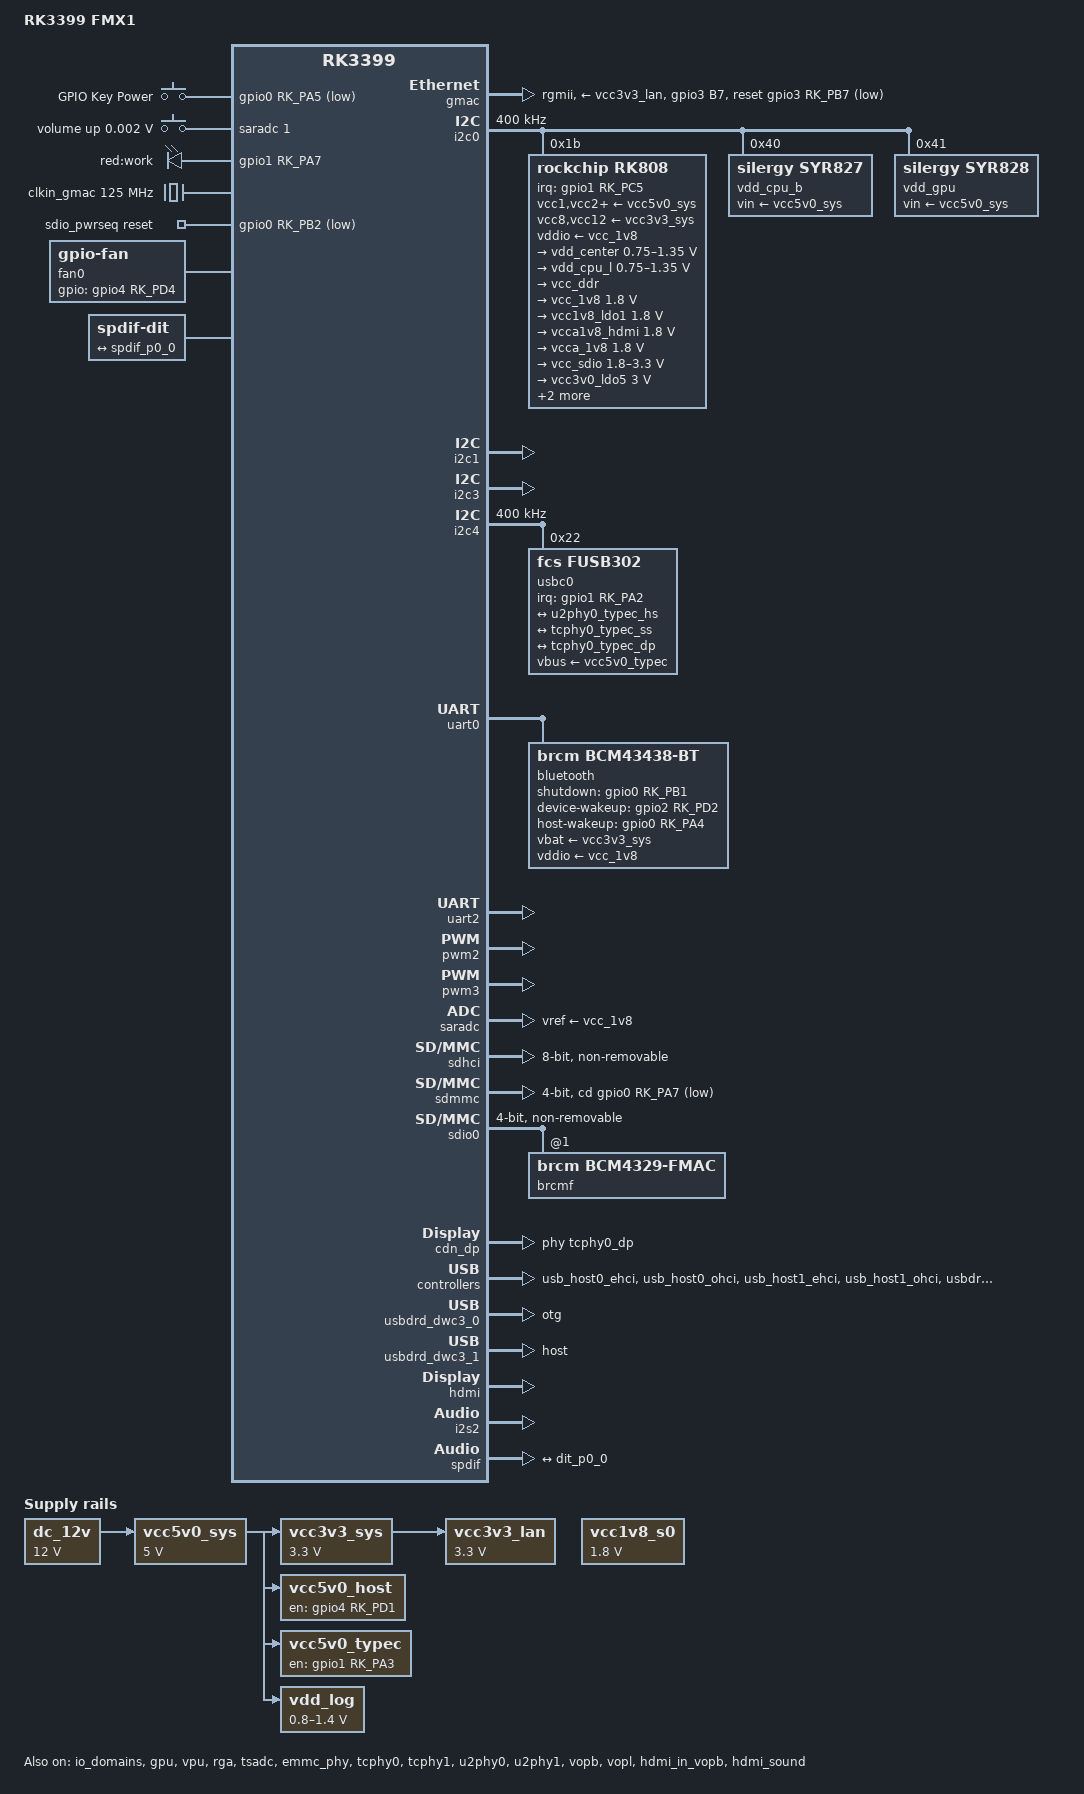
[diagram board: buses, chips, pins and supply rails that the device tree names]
// SPDX-License-Identifier: (GPL-2.0+ OR MIT)
/*
 * Copyright (C) 2025 kaixinos <kaixinos@outlook.com>
 */

/dts-v1/;
#include <dt-bindings/input/linux-event-codes.h>
#include <dt-bindings/leds/common.h>
#include <dt-bindings/pwm/pwm.h>
#include <dt-bindings/usb/pd.h>
#include "rk3399.dtsi"

/ {
	model = "RK3399 FMX1";
	compatible = "rk3399,fmx1", "rockchip,rk3399";

	aliases {
		ethernet0 = &gmac;
		mmc0 = &sdio0;
		mmc1 = &sdmmc;
		mmc2 = &sdhci;
	};

	chosen {
		stdout-path = "serial2:1500000n8";
	};

	dc_12v: dc-12v {
		compatible = "regulator-fixed";
		regulator-name = "dc_12v";
		regulator-always-on;
		regulator-boot-on;
		regulator-min-microvolt = <12000000>;
		regulator-max-microvolt = <12000000>;
	};

	vcc5v0_sys: vcc5v0-sys {
		compatible = "regulator-fixed";
		regulator-name = "vcc5v0_sys";
		regulator-always-on;
		regulator-boot-on;
		regulator-min-microvolt = <5000000>;
		regulator-max-microvolt = <5000000>;
		vin-supply = <&dc_12v>;
	};

	vcc3v3_sys: vcc3v3-sys {
		compatible = "regulator-fixed";
		regulator-name = "vcc3v3_sys";
		regulator-always-on;
		regulator-boot-on;
		regulator-min-microvolt = <3300000>;
		regulator-max-microvolt = <3300000>;
		vin-supply = <&vcc5v0_sys>;
	};

	vcc1v8_s0: vcc1v8-s0 {
		compatible = "regulator-fixed";
		regulator-name = "vcc1v8_s0";
		regulator-always-on;
		regulator-boot-on;
		regulator-min-microvolt = <1800000>;
		regulator-max-microvolt = <1800000>;
	};

	vcc5v0_host: vcc5v0-host {
		compatible = "regulator-fixed";
		regulator-name = "vcc5v0_host";
		enable-active-high;
		gpio = <&gpio4 RK_PD1 GPIO_ACTIVE_HIGH>;
		pinctrl-names = "default";
		pinctrl-0 = <&vcc5v0_host_en>;
		regulator-always-on;
		vin-supply = <&vcc5v0_sys>;
	};

	vcc5v0_typec: vcc5v0-typec {
		compatible = "regulator-fixed";
		regulator-name = "vcc5v0_typec";
		enable-active-high;
		gpio = <&gpio1 RK_PA3 GPIO_ACTIVE_HIGH>;
		pinctrl-names = "default";
		pinctrl-0 = <&vcc5v0_typec_en>;
		vin-supply = <&vcc5v0_sys>;
	};

	vdd_log: vdd-log {
		compatible = "pwm-regulator";
		pwms = <&pwm2 0 25000 1>;
		regulator-name = "vdd_log";
		regulator-always-on;
		regulator-boot-on;
		regulator-min-microvolt = <800000>;
		regulator-max-microvolt = <1400000>;
		regulator-init-microvolt = <900000>;
		vin-supply = <&vcc5v0_sys>;
	};

	vcc3v3_lan: vcc3v3-lan {
		compatible = "regulator-fixed";
		regulator-name = "vcc3v3_lan";
		regulator-always-on;
		regulator-boot-on;
		regulator-min-microvolt = <3300000>;
		regulator-max-microvolt = <3300000>;
		vin-supply = <&vcc3v3_sys>;
	};

	gpio-keys {
		compatible = "gpio-keys";
		autorepeat;
		pinctrl-names = "default";
		pinctrl-0 = <&power_key>;

		key-power {
			gpios = <&gpio0 RK_PA5 GPIO_ACTIVE_LOW>;
			label = "GPIO Key Power";
			linux,code = <KEY_POWER>;
			debounce-interval = <100>;
			wakeup-source;
		};
	};

	adc-keys {
		compatible = "adc-keys";
		io-channels = <&saradc 1>;
		io-channel-names = "buttons";
		keyup-threshold-microvolt = <1800000>;
		poll-interval = <100>;

		vol-up-key {
			label = "volume up";
			linux,code = <KEY_VOLUMEUP>;
			press-threshold-microvolt = <1750>;
		};
	};

	leds {
		compatible = "gpio-leds";
		pinctrl-names = "default";
		pinctrl-0 = <&user_led0>;

		/* USER_LED */
		led-0 {
			label = "red:work";
			gpios = <&gpio1 RK_PA7 GPIO_ACTIVE_HIGH>;
			default-state = "on";
			//linux,default-trigger = "heartbeat";
		};
	};

	clkin_gmac: external-gmac-clock {
		compatible = "fixed-clock";
		clock-frequency = <125000000>;
		clock-output-names = "clkin_gmac";
		#clock-cells = <0>;
	};

	sdio_pwrseq: sdio-pwrseq {
		compatible = "mmc-pwrseq-simple";
		clocks = <&rk808 1>;
		clock-names = "ext_clock";
		pinctrl-names = "default";
		pinctrl-0 = <&wifi_enable_h>;

		/*
		 * On the module itself this is one of these (depending
		 * on the actual card populated):
		 * - SDIO_RESET_L_WL_REG_ON
		 * - PDN (power down when low)
		 */
		reset-gpios = <&gpio0 RK_PB2 GPIO_ACTIVE_LOW>;
	};

	fan0: gpio-fan {
		status = "okay";
		#cooling-cells = <2>;
		compatible = "gpio-fan";
		gpio-fan,speed-map = <0 0 3000 1>;
		gpios = <&gpio4 RK_PD4 GPIO_ACTIVE_HIGH>;
	};

	sound-dit {
		compatible = "audio-graph-card";
		label = "SPDIF";
		dais = <&spdif_p0>;
	};

	spdif-dit {
		compatible = "linux,spdif-dit";
		#sound-dai-cells = <0>;

		port {
			dit_p0_0: endpoint {
				remote-endpoint = <&spdif_p0_0>;
			};
		};
	};
};

&io_domains {
	status = "okay";

	bt656-supply = <&vcc1v8_s0>;		/* APIO2_VDD */
	audio-supply = <&vcc1v8_s0>;		/* APIO5_VDD */
	sdmmc-supply = <&vcc_sdio>;		/* SDMMC0_VDD */
	gpio1830-supply = <&vcc_3v0>;		/* APIO4_VDD */
};

&pmu_io_domains {
	status = "okay";

	pmu1830-supply = <&vcc_1v8>;		/* PMUIO2_VDD */
};

&cpu_l0 {
	cpu-supply = <&vdd_cpu_l>;
};

&cpu_l1 {
	cpu-supply = <&vdd_cpu_l>;
};

&cpu_l2 {
	cpu-supply = <&vdd_cpu_l>;
};

&cpu_l3 {
	cpu-supply = <&vdd_cpu_l>;
};

&cpu_b0 {
	cpu-supply = <&vdd_cpu_b>;
};

&cpu_b1 {
	cpu-supply = <&vdd_cpu_b>;
};

&cpu_thermal {
	trips {
		cpu_hot: cpu_hot {
			hysteresis = <10000>;
			temperature = <55000>;
			type = "active";
		};
	};

	cooling-maps {
		map2 {
			cooling-device =
				<&fan0 THERMAL_NO_LIMIT THERMAL_NO_LIMIT>;
			trip = <&cpu_hot>;
		};
	};
};

&gpu {
	status = "okay";
	mali-supply = <&vdd_gpu>;
};

&vpu {
	status = "okay";
};

&rga {
	status = "okay";
};

&gmac {
	status = "okay";
	assigned-clock-parents = <&clkin_gmac>;
	assigned-clocks = <&cru SCLK_RMII_SRC>;
	clock_in_out = "input";
	phy-supply = <&vcc3v3_lan>;
	phy-mode = "rgmii";
	pinctrl-names = "default";
	pinctrl-0 = <&rgmii_pins &rgmii_phy_reset>;
	snps,reset-gpio = <&gpio3 RK_PB7 GPIO_ACTIVE_LOW>;
	snps,reset-active-low;
	snps,reset-delays-us = <0 10000 50000>;
	tx_delay = <0x28>;
	rx_delay = <0x11>;
};

&i2c0 {
	status = "okay";
	clock-frequency = <400000>;
	i2c-scl-rising-time-ns = <168>;
	i2c-scl-falling-time-ns = <4>;

	rk808: pmic@1b {
		compatible = "rockchip,rk808";
		reg = <0x1b>;
		interrupt-parent = <&gpio1>;
		interrupts = <RK_PC5 IRQ_TYPE_LEVEL_LOW>;
		#clock-cells = <1>;
		clock-output-names = "xin32k", "rk808-clkout2";
		pinctrl-names = "default";
		pinctrl-0 = <&pmic_int_l>;
		rockchip,system-power-controller;
		wakeup-source;

		vcc1-supply = <&vcc5v0_sys>;
		vcc2-supply = <&vcc5v0_sys>;
		vcc3-supply = <&vcc5v0_sys>;
		vcc4-supply = <&vcc5v0_sys>;
		vcc6-supply = <&vcc5v0_sys>;
		vcc7-supply = <&vcc5v0_sys>;
		vcc8-supply = <&vcc3v3_sys>;
		vcc9-supply = <&vcc5v0_sys>;
		vcc10-supply = <&vcc5v0_sys>;
		vcc11-supply = <&vcc5v0_sys>;
		vcc12-supply = <&vcc3v3_sys>;
		vddio-supply = <&vcc_1v8>;

		regulators {
			vdd_center: DCDC_REG1 {
				regulator-name = "vdd_center";
				regulator-always-on;
				regulator-boot-on;
				regulator-min-microvolt = <750000>;
				regulator-max-microvolt = <1350000>;
				regulator-ramp-delay = <6001>;

				regulator-state-mem {
					regulator-off-in-suspend;
				};
			};

			vdd_cpu_l: DCDC_REG2 {
				regulator-name = "vdd_cpu_l";
				regulator-always-on;
				regulator-boot-on;
				regulator-min-microvolt = <750000>;
				regulator-max-microvolt = <1350000>;
				regulator-ramp-delay = <6001>;

				regulator-state-mem {
					regulator-off-in-suspend;
				};
			};

			vcc_ddr: DCDC_REG3 {
				regulator-name = "vcc_ddr";
				regulator-always-on;
				regulator-boot-on;

				regulator-state-mem {
					regulator-on-in-suspend;
				};
			};

			vcc_1v8: DCDC_REG4 {
				regulator-name = "vcc_1v8";
				regulator-always-on;
				regulator-boot-on;
				regulator-min-microvolt = <1800000>;
				regulator-max-microvolt = <1800000>;

				regulator-state-mem {
					regulator-on-in-suspend;
					regulator-suspend-microvolt = <1800000>;
				};
			};

			vcc1v8_ldo1: LDO_REG1 {
				regulator-name = "vcc1v8_ldo1";
				regulator-always-on;
				regulator-boot-on;
				regulator-min-microvolt = <1800000>;
				regulator-max-microvolt = <1800000>;

				regulator-state-mem {
					regulator-off-in-suspend;
				};
			};

			vcca1v8_hdmi: LDO_REG2 {
				regulator-name = "vcca1v8_hdmi";
				regulator-always-on;
				regulator-boot-on;
				regulator-min-microvolt = <1800000>;
				regulator-max-microvolt = <1800000>;

				regulator-state-mem {
					regulator-off-in-suspend;
				};
			};

			vcca_1v8: LDO_REG3 {
				regulator-name = "vcca_1v8";
				regulator-always-on;
				regulator-boot-on;
				regulator-min-microvolt = <1800000>;
				regulator-max-microvolt = <1800000>;

				regulator-state-mem {
					regulator-on-in-suspend;
					regulator-suspend-microvolt = <1800000>;
				};
			};

			vcc_sdio: LDO_REG4 {
				regulator-name = "vcc_sdio";
				regulator-always-on;
				regulator-boot-on;
				regulator-min-microvolt = <1800000>;
				regulator-max-microvolt = <3300000>;

				regulator-state-mem {
					regulator-on-in-suspend;
					regulator-suspend-microvolt = <3300000>;
				};
			};

			vcc3v0_ldo5: LDO_REG5 {
				regulator-name = "vcc3v0_ldo5";
				regulator-always-on;
				regulator-boot-on;
				regulator-min-microvolt = <3000000>;
				regulator-max-microvolt = <3000000>;

				regulator-state-mem {
					regulator-off-in-suspend;
				};
			};

			vcc_1v5: LDO_REG6 {
				regulator-name = "vcc_1v5";
				regulator-always-on;
				regulator-boot-on;
				regulator-min-microvolt = <1500000>;
				regulator-max-microvolt = <1500000>;

				regulator-state-mem {
					regulator-on-in-suspend;
					regulator-suspend-microvolt = <1500000>;
				};
			};

			vcca0v9_hdmi: LDO_REG7 {
				regulator-name = "vcca0v9_hdmi";
				regulator-always-on;
				regulator-boot-on;
				regulator-min-microvolt = <900000>;
				regulator-max-microvolt = <900000>;

				regulator-state-mem {
					regulator-off-in-suspend;
				};
			};

			vcc_3v0: LDO_REG8 {
				regulator-name = "vcc_3v0";
				regulator-always-on;
				regulator-boot-on;
				regulator-min-microvolt = <3000000>;
				regulator-max-microvolt = <3000000>;

				regulator-state-mem {
					regulator-on-in-suspend;
					regulator-suspend-microvolt = <3000000>;
				};
			};

			vcc3v3_s3: SWITCH_REG1 {
				regulator-name = "vcc3v3_s3";
				regulator-always-on;
				regulator-boot-on;

				regulator-state-mem {
					regulator-off-in-suspend;
				};
			};

			vcc3v3_s0: SWITCH_REG2 {
				regulator-name = "vcc3v3_s0";
				regulator-always-on;
				regulator-boot-on;

				regulator-state-mem {
					regulator-off-in-suspend;
				};
			};
		};
	};

	vdd_cpu_b: regulator@40 {
		compatible = "silergy,syr827";
		reg = <0x40>;
		fcs,suspend-voltage-selector = <0>;
		//pinctrl-names = "default";
		//pinctrl-0 = <&vsel1_pin>;
		//regulator-compatible = "fan53555-reg";
		regulator-name = "vdd_cpu_b";
		regulator-min-microvolt = <712500>;
		regulator-max-microvolt = <1500000>;
		regulator-ramp-delay = <1000>;
		regulator-always-on;
		regulator-boot-on;
		vin-supply = <&vcc5v0_sys>;

		regulator-state-mem {
			regulator-off-in-suspend;
		};
	};

	vdd_gpu: regulator@41 {
		compatible = "silergy,syr828";
		reg = <0x41>;
		fcs,suspend-voltage-selector = <1>;
		//pinctrl-names = "default";
		//pinctrl-0 = <&vsel2_pin>;
		//regulator-compatible = "fan53555-reg";
		regulator-name = "vdd_gpu";
		regulator-min-microvolt = <712500>;
		regulator-max-microvolt = <1500000>;
		regulator-ramp-delay = <1000>;
		regulator-always-on;
		regulator-boot-on;
		vin-supply = <&vcc5v0_sys>;

		regulator-state-mem {
			regulator-off-in-suspend;
		};
	};
};

&i2c1 {
	status = "okay";
	i2c-scl-rising-time-ns = <300>;
	i2c-scl-falling-time-ns = <15>;
};

&i2c3 {
	status = "okay";
	i2c-scl-rising-time-ns = <450>;
	i2c-scl-falling-time-ns = <15>;
};

&i2c4 {
	status = "okay";
	i2c-scl-rising-time-ns = <160>;
	i2c-scl-falling-time-ns = <30>;
	clock-frequency = <400000>;

	usbc0: fusb302@22 {
		compatible = "fcs,fusb302";
		reg = <0x22>;
		interrupt-parent = <&gpio1>;
		interrupts = <RK_PA2 IRQ_TYPE_LEVEL_LOW>;
		pinctrl-names = "default";
		pinctrl-0 = <&usbc0_int>;
		vbus-supply = <&vcc5v0_typec>;

		connector {
			compatible = "usb-c-connector";
			label = "USB-C";
			op-sink-microwatt = <1000000>;
			power-role = "dual";
			data-role = "dual";
			sink-pdos =
				<PDO_FIXED(5000, 2500, PDO_FIXED_USB_COMM)>;
			source-pdos =
				<PDO_FIXED(5000, 1400, PDO_FIXED_USB_COMM)>;
			try-power-role = "sink";

			extcon-cables = <1 2 5 6 9 10 12 44>;
			typec-altmodes = <0xff01 1 0x001c0000 1>;

			ports {
				#address-cells = <1>;
				#size-cells = <0>;

				port@0 {
					reg = <0>;
					usb_con_hs: endpoint {
						remote-endpoint =
							<&u2phy0_typec_hs>;
					};
				};

				port@1 {
					reg = <1>;

					usb_con_ss: endpoint {
						remote-endpoint =
							<&tcphy0_typec_ss>;
					};
				};

				port@2 {
					reg = <2>;
					usb_con_sbu: endpoint {
						remote-endpoint =
							<&tcphy0_typec_dp>;
					};
				};
			};
		};
	};
};

&uart0 {
	status = "okay";
	pinctrl-names = "default";
	pinctrl-0 = <&uart0_xfer &uart0_cts &uart0_rts>;

	bluetooth {
		compatible = "brcm,bcm43438-bt";
		clocks = <&rk808 1>;
		clock-names = "ext_clock";
		shutdown-gpios = <&gpio0 RK_PB1 GPIO_ACTIVE_HIGH>;
		device-wakeup-gpios = <&gpio2 RK_PD2 GPIO_ACTIVE_HIGH>;	/* Host wake BT */
		host-wakeup-gpios = <&gpio0 RK_PA4 GPIO_ACTIVE_HIGH>;	/* BT wake Host, irq*/
		max-speed = <1500000>;
		pinctrl-names = "default";
		pinctrl-0 = <&bt_enable_h &bt_wake_l &bt_host_wake_l>;
		vbat-supply = <&vcc3v3_sys>;
		vddio-supply = <&vcc_1v8>;
	};
};

&uart2 {
	status = "okay";
};

&pwm0 {
	status = "disabled";
};

&pwm2 {
	status = "okay";
	pinctrl-names = "active";
	pinctrl-0 = <&pwm2_pin>;
};

&pwm3 {
	status = "okay";
};

&saradc {
	status = "okay";
	vref-supply = <&vcc_1v8>;
};

&tsadc {
	status = "okay";

	/* tshut mode 0:CRU 1:GPIO */
	rockchip,hw-tshut-mode = <1>;
	/* tshut polarity 0:LOW 1:HIGH */
	rockchip,hw-tshut-polarity = <1>;
};

&emmc_phy {
	status = "okay";
};

&sdhci {
	status = "okay";
	//max-frequency = <150000000>;
	bus-width = <8>;
	mmc-hs200-1_8v;
	//mmc-hs400-1_8v;
	//mmc-hs400-enhanced-strobe;
	//keep-power-in-suspend;
	non-removable;
};

&sdmmc {
	status = "okay";
	clock-frequency = <100000000>;
	//max-frequency = <150000000>;
	bus-width = <4>;
	cap-mmc-highspeed;
	cap-sd-highspeed;
	disable-wp;
	sd-uhs-sdr104;
	pinctrl-names = "default";
	pinctrl-0 = <&sdmmc_clk &sdmmc_cmd &sdmmc_bus4 &sdmmc_cd>;
	cd-gpios = <&gpio0 RK_PA7 GPIO_ACTIVE_LOW>;
	//vmmc-supply = <&vcc3v0_sd>;
	vqmmc-supply = <&vcc_sdio>;
};

&sdio0 {
	status = "okay";
	#address-cells = <1>;
	#size-cells = <0>;

	clock-frequency = <50000000>;
	max-frequency = <50000000>;
	bus-width = <4>;
	disable-wp;
	cap-sdio-irq;
	cap-sd-highspeed;
	keep-power-in-suspend;
	mmc-pwrseq = <&sdio_pwrseq>;
	non-removable;
	pinctrl-names = "default";
	pinctrl-0 = <&sdio0_bus4 &sdio0_cmd &sdio0_clk>;
	sd-uhs-sdr104;

	brcmf: wifi@1 {
		compatible = "brcm,bcm4329-fmac";
		reg = <1>;
		//interrupt-parent = <&gpio0>;
		////interrupts = <RK_PA3 IRQ_TYPE_LEVEL_HIGH>;	/* WIFI wake Host irq */
		//interrupts = <RK_PA3 GPIO_ACTIVE_HIGH>;
		//interrupt-names = "host-wake";
		pinctrl-names = "default";
		pinctrl-0 = <&wifi_host_wake_l>;
	};
};

&pcie_phy {
	status = "disabled";
};

&pcie0 {
	status = "disabled";
};

&cdn_dp {
	status = "okay";
	extcon = <&usbc0>;
	phys = <&tcphy0_dp>;
};

&tcphy0 {
	status = "okay";
	extcon = <&usbc0>;
};

&tcphy0_dp {
	port {
		tcphy0_typec_dp: endpoint {
			remote-endpoint = <&usb_con_sbu>;
		};
	};
};

&tcphy0_usb3 {
	port {
		tcphy0_typec_ss: endpoint {
			remote-endpoint = <&usb_con_ss>;
		};
	};
};

&tcphy1 {
	status = "okay";
};

&u2phy0 {
	status = "okay";
	extcon = <&usbc0>;

	u2phy0_otg: otg-port {
		status = "okay";
	};

	u2phy0_host: host-port {
		status = "okay";
		phy-supply = <&vcc5v0_host>;
	};

	port {
		u2phy0_typec_hs: endpoint {
			remote-endpoint = <&usb_con_hs>;
		};
	};
};

&u2phy1 {
	status = "okay";

	u2phy1_otg: otg-port {
		status = "okay";
	};

	u2phy1_host: host-port {
		status = "okay";
		phy-supply = <&vcc5v0_host>;
	};
};

&usb_host0_ehci {
	status = "okay";
};

&usb_host0_ohci {
	status = "okay";
};

&usb_host1_ehci {
	status = "okay";
};

&usb_host1_ohci {
	status = "okay";
};

&usbdrd3_0 {
	status = "okay";
};

&usbdrd_dwc3_0 {
	status = "okay";
	extcon = <&usbc0>;
	dr_mode = "otg";
};

&usbdrd3_1 {
	status = "okay";
};

&usbdrd_dwc3_1 {
	status = "okay";
	dr_mode = "host";
};

&vopb {
	status = "okay";
};

&vopb_mmu {
	status = "okay";
};

&vopl {
	status = "okay";
};

&vopl_mmu {
	status = "okay";
};

&hdmi {
	status = "okay";
	avdd-0v9-supply = <&vcca0v9_hdmi>;
	avdd-1v8-supply = <&vcca1v8_hdmi>;
	ddc-i2c-bus = <&i2c3>;
	pinctrl-names = "default";
	pinctrl-0 = <&hdmi_cec>;
};

&hdmi_in_vopb {
	status = "okay";
};

&hdmi_in_vopl {
	status = "disabled";
};

&hdmi_sound {
	status = "okay";
};

&i2s0 {
	status = "disabled";
};

&i2s1 {
	status = "disabled";
};

&i2s2 {
	status = "okay";
};

&spdif {
	spdif_p0: port {
		spdif_p0_0: endpoint {
			remote-endpoint = <&dit_p0_0>;
		};
	};
};

&pinctrl {
	pmic {
		pmic_int_l: pmic-int-l {
			rockchip,pins =
				<1 RK_PC5 RK_FUNC_GPIO &pcfg_pull_up>;
		};
/*
		vsel1_pin: vsel1-pin {
			rockchip,pins =
				<1 RK_PC2 RK_FUNC_GPIO &pcfg_pull_down>;
		};

		vsel2_pin: vsel2-pin {
			rockchip,pins =
				<1 RK_PB6 RK_FUNC_GPIO &pcfg_pull_down>;
		};
*/
	};

	usb2 {
		vcc5v0_host_en: vcc5v0-host-en {
			rockchip,pins =
				<4 RK_PD1 RK_FUNC_GPIO &pcfg_pull_none>;
		};
	};

	usb-typec {
		vcc5v0_typec_en: vcc5v0-typec-en {
			rockchip,pins =
				<1 RK_PA3 RK_FUNC_GPIO &pcfg_pull_down>;
		};

		usbc0_int: usbc0-int {
			rockchip,pins =
				<1 RK_PA2 RK_FUNC_GPIO &pcfg_pull_up>;
		};
	};

	rockchip-key {
		power_key: power-key {
			rockchip,pins =
				<0 RK_PA5 RK_FUNC_GPIO &pcfg_pull_up>;
		};
	};

	leds {
		user_led0: user-led0 {
			rockchip,pins =
				<1 RK_PA7 RK_FUNC_GPIO &pcfg_pull_none>;
		};
	};

	gmac {
		rgmii_phy_reset: rgmii-phy-reset {
			rockchip,pins =
				<3 RK_PB7 RK_FUNC_GPIO &pcfg_output_low>;
		};
	};

	wifi {
		wifi_enable_h: wifi-enable-h {
			rockchip,pins =
				<0 RK_PB2 RK_FUNC_GPIO &pcfg_pull_none>;
		};

		wifi_host_wake_l: wifi-host-wake-l {
			rockchip,pins =
				<0 RK_PA3 RK_FUNC_GPIO &pcfg_pull_down>;
		};
	};

	bt {
		bt_enable_h: bt-enable-h {
			rockchip,pins =
				<0 RK_PB1 RK_FUNC_GPIO &pcfg_pull_none>;
		};

		bt_wake_l: bt-wake-l {
			rockchip,pins =
				<2 RK_PD2 RK_FUNC_GPIO &pcfg_pull_none>;
		};

		bt_host_wake_l: bt-host-wake-l {
			rockchip,pins =
				<0 RK_PA4 RK_FUNC_GPIO &pcfg_pull_none>;
		};
	};
};
